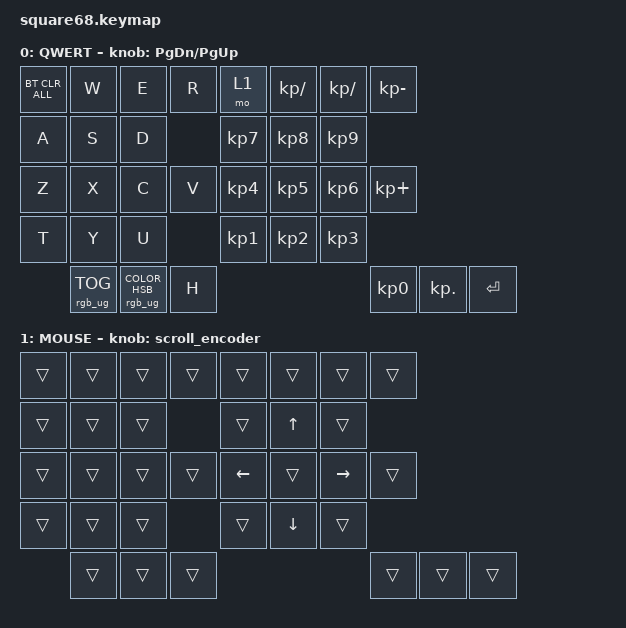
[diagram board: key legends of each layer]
#include <behaviors/mouse_keys.dtsi>
#include <behaviors.dtsi>
#include <dt-bindings/zmk/bt.h>
#include <dt-bindings/zmk/keys.h>
#include <dt-bindings/zmk/mouse.h>
#include <dt-bindings/zmk/rgb.h>

#define ZMK_MOUSE_DEFAULT_MOVE_VAL 1200  // 600
#define ZMK_MOUSE_DEFAULT_SCRL_VAL 20    // 10
#define U_MS_U &mmv MOVE_UP
#define U_MS_D &mmv MOVE_DOWN
#define U_MS_L &mmv MOVE_LEFT
#define U_MS_R &mmv MOVE_RIGHT
#define ZMK_MOUSE_DEFAULT_MOVE_VAL 1200  //  600
#define ZMK_MOUSE_DEFAULT_SCRL_VAL 20    // 10

&lt {
    flavor = "tap-preferred";
    quick-tap-ms = <180>;
};

/ {
    behaviors {
        mmv {
            acceleration-exponent = <1>;      // 1
            time-to-max-speed-ms = <900>;    // 40
            delay-ms = <0>;                   // 0
        };

        msc {
            acceleration-exponent = <1>;      // 0
            time-to-max-speed-ms = <400>;      // 500
            delay-ms = <0>;                   //   10
        };
    };

    scroll_encoder: scroll_encoder {
        compatible = "zmk,behavior-sensor-rotate";
        #sensor-binding-cells = <0>;
        bindings = <&msc SCRL_DOWN>, <&msc SCRL_UP>;

        tap-ms = <30>;
    };

    keymap {
        compatible = "zmk,keymap";

        LAYER0 {
            bindings = <
&bt BT_CLR_ALL  &kp W          &kp E         &kp R               &mo 1       &kp KP_SLASH   &kp KP_DIVIDE    &kp KP_MINUS 
&kp A           &kp S          &kp D                             &kp KP_N7   &kp KP_N8      &kp KP_N9
&kp Z           &kp X          &kp C         &kp V               &kp KP_N4   &kp KP_N5      &kp KP_N6        &kp KP_PLUS  
&kp T           &kp Y          &kp U                             &kp KP_N1   &kp KP_N2      &kp KP_N3 
                &rgb_ug RGB_TOG        &rgb_ug RGB_COLOR_HSB(128,100,100)       &kp H                            &kp KP_N0      &kp KP_DOT       &kp ENTER 
            >;

            display-name = "QWERT";
            sensor-bindings = <&inc_dec_kp PG_DN PG_UP>;
        };

        layer_1 {
            bindings = <
&trans      &trans         &trans        &trans             &trans      &trans      &trans     &trans 
&trans      &trans         &trans                           &trans      &kp UP      &trans
&trans      &trans         &trans        &trans             &kp LEFT    &trans      &kp RIGHT  &trans  
&trans      &trans         &trans                           &trans      &kp DOWN    &trans 
            &trans         &trans        &trans                         &trans      &trans     &trans 
                                
            >;

            display-name = "MOUSE";
            sensor-bindings = <&scroll_encoder>;
        };
    };
};
